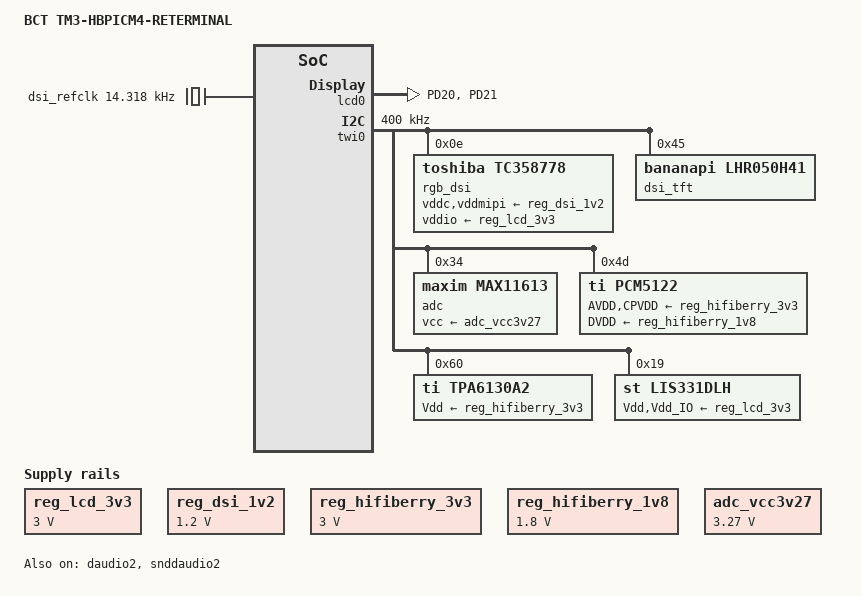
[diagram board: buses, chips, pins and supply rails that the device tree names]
/*
 * Allwinner Technology CO., Ltd. sun50iw6p1 soc board.
 *
 * soc board support.
 */

/dts-v1/;

#include <dt-bindings/input/input.h>

#include "tm3-hbpicm4.dtsi"

/ {
	model = "BCT TM3-HBPICM4-RETERMINAL";

	hbxregulators {
		compatible = "simple-bus";

		reg_lcd_3v3: lcd-3v3 {
			compatible = "regulator-fixed";
			regulator-name = "vcc-lcd-0";
			regulator-min-microvolt = <3000000>;
			regulator-max-microvolt = <3000000>;
			regulator-always-on;
		};
		reg_dsi_1v2: dsi-1v2 {
			compatible = "regulator-fixed";
			regulator-name = "vcc-dsi-0";
			regulator-min-microvolt = <1200000>;
			regulator-max-microvolt = <1200000>;
			regulator-always-on;
		};

		reg_hifiberry_3v3: reg_hifiberry_3v3 {
			compatible = "regulator-fixed";
			regulator-name = "reg-hifiberry-3v3";
			regulator-min-microvolt = <3000000>;
			regulator-max-microvolt = <3000000>;
			regulator-always-on;
		};
		reg_hifiberry_1v8: reg_hifiberry_1v8 {
			compatible = "regulator-fixed";
			regulator-name = "reg-hifiberry-1v8";
			regulator-min-microvolt = <1800000>;
			regulator-max-microvolt = <1800000>;
			regulator-always-on;
		};
		/* ADC supply */
		adc_vcc3v27: adc_vcc3v27 {
			compatible = "regulator-fixed";
			regulator-name = "adc-vcc3v27";
			regulator-min-microvolt = <3270000>;
			regulator-max-microvolt = <3270000>;
			regulator-always-on;
		};
	};

	dsi_refclk: dsi_refclk {
		compatible = "fixed-clock";
		#clock-cells = <0>;
		//clock-frequency =   <8000000>; // test 11MHz (76.6 kHz)
		clock-frequency = <14318>; // onboard crystal (64.3kHz)
		//clock-frequency =   <17755000>; //pixel clock 71MHz / 4
	};
};


&pio {
	//HSYNC, VSYNC
	lcd0_pins_2: lcd0_p2{
		allwinner,pins = "PD20", "PD21";
		allwinner,function = "lcd0";
		allwinner,pname = "lcdhsync", "lcdvsync";
		allwinner,muxsel = <0x2>;
		allwinner,pull = <0x0>;
		allwinner,drive = <0x03>;
		allwinner,data = <0xffffffff>;
	};
	lcd0_pins_3: lcd0_p3{
		allwinner,pins = "PD20", "PD21";
		allwinner,function = "lcd0";
		allwinner,pname = "lcdhsync", "lcdvsync";
		allwinner,muxsel = <0x7>;
		allwinner,pull = <0x0>;
		allwinner,drive = <0xffffffff>;
		allwinner,data = <0xffffffff>;
	};
};


&disp{
	screen0_output_type = <0x1>;
	screen0_output_format = <0x1>;
};

/* 5.5 inch 1280x720*/

&lcd0{
device_type = "lcd0";
	lcd_used = <0x1>;
	lcd_driver_name = "default_lcd";
	lcd_backlight = <0>;
	lcd_if = <0x0>;
	lcd_hv_if = <0x00>;
	lcd_pwm_used = <0>;
	lcd_pwm_ch = <0>;
	lcd_pwm_freq = <10000>;
	lcd_pwm_pol = <0x1>;
	lcd_pwm_max_limit = <255>;
	lcd_lvds_if = <0x0>;
	lcd_lvds_colordepth = <0x1>;
	lcd_lvds_mode = <0x0>;
	lcd_frm = <0x1>;
	lcd_gamma_en = <0x0>;
	lcd_bright_curve_en = <0x0>;
	lcd_cmap_en = <0x0>;
	lcd_bl_en;
	lcd_bl_en_power = "none";
	lcd_power = "vcc-lcd-0";
	//lcd_bl_device = <&pwm_backlight>;
	pinctrl-0 = <&lcd0_pins_0>, <&lcd0_pins_2>;
	pinctrl-1 = <&lcd0_pins_1>, <&lcd0_pins_3>;
	lcdd20 = <0xd6 0xc 0x3 0x1 0x0 0x1 0x1>;
	//uboot_lcd_gpio_0 = <&r_pio PM 3 1 0 1 0>; //LCD Enable
	//uboot_lcd_gpio_1 = <&pio PD 22 1 0 1 0>; //LCD Backlight

	//geometry
	lcd_x = <720>;
	lcd_y = <1280>; // 1280
	lcd_width = <110>;
	lcd_height = <62>;


	lcd_dclk_freq = <63>; // 1340 * 840 * 56 => 63.034 MHz
	lcd_ht = <840>; // 840: 720 + 20 + 20 + 80
	lcd_hbp = <40>; // 40: hbp also includes the sync pulse! so it is actually 50 -20 => 30
	lcd_hspw = <20>; // 20
	lcd_vt = <1340>; //1280 + 10 + 20 + 30
	lcd_vbp = <50>; //hbp also includes the sync puse! so it is actually 50 -20 => 30
	lcd_vspw = <20>;


	lcd_hv_clk_phase = <0x1>;
	lcd_hv_sync_polarity = <0x0>; //?

	bridge = <&rgb_dsi>;
};


&twi0 {
	status = "okay";
	clock-frequency = <400000>;

	rgb_dsi: rgb_dsi@e {
		compatible = "toshiba,tc358778";
		reg = <0xe>;
		clocks = <&dsi_refclk>;
		clock-names = "refclk";
		vddc-supply = <&reg_dsi_1v2>;
		vddmipi-supply = <&reg_dsi_1v2>;
		vddio-supply = <&reg_lcd_3v3>;

		dsi-lanes = <4>;
		dsi-pixel-format = "RGB565";
		rgb-mapping-mode = <0>;
		vs-delay = <10>;

		out-bridge = <&dsi_tft>;
		status = "okay";
	};

	dsi_tft: dsi_tft@45 {
		compatible = "bananapi,lhr050h41","ili9881c";
		power = <&reg_lcd_3v3>;
		reg = <0x45>;

		status = "okay";
	};

	adc: max11613@34 {
		compatible = "maxim,max11613";
		reg = <0x34>;
		vcc-supply = <&adc_vcc3v27>;
		status = "okay";
	};

	/* HiFiBerry DAC2 */
	pcm5122@4d {
		#sound-dai-cells = <0>;
		compatible = "ti,pcm5122";
		reg = <0x4d>;
		//no clock is defined to force I2S slave mode
		lazy-startup; //prevent errors when master calls startup() before setting the format
		AVDD-supply = <&reg_hifiberry_3v3>;
		DVDD-supply = <&reg_hifiberry_1v8>;
		CPVDD-supply = <&reg_hifiberry_3v3>;
		status = "okay";
	};

	/* HiFiBerry DAC2 Headphone amplifier */
	tpa6130a2: tpa6130a2@60 {
		compatible = "ti,tpa6130a2";
		reg = <0x60>;
		Vdd-supply = <&reg_hifiberry_3v3>;
	};


	lis331dlh: lis331dlh@19 {
		compatible = "st,lis331dlh", "st,lis3lv02d";
		reg = <0x19>;
		Vdd-supply = <&reg_lcd_3v3>;
		Vdd_IO-supply = <&reg_lcd_3v3>;

		st,wakeup-x-lo;
		st,wakeup-x-hi;
		st,wakeup-y-lo;
		st,wakeup-y-hi;
		st,wakeup-z-lo;
		st,wakeup-z-hi;
		st,min-limit-x = <120>;
		st,min-limit-y = <120>;
		st,min-limit-z = <140>;
		st,max-limit-x = <550>;
		st,max-limit-y = <550>;
		st,max-limit-z = <750>;
		status = "okay";
	};
};

&daudio2{
	pcm_lrck_period =  <0x20>;
	audio_format =  <0x01>;
	status = "okay";
};

&snddaudio2 {
	sunxi,snddaudio-codec = "pcm512x.0-004d";
	sunxi,snddaudio-codec-dai = "pcm512x-hifi";
	sunxi,snddaudio-aux-devs = <&tpa6130a2>;
	status = "okay";
};

&spi1{
	// for GPIO testing 
	status="disabled";
};


/*
for GPIO testing
*/
&pwm {
	status="disabled";
};

&pwm0 {
	status="disabled";
};

&pwm1 {
	status="disabled";
};

